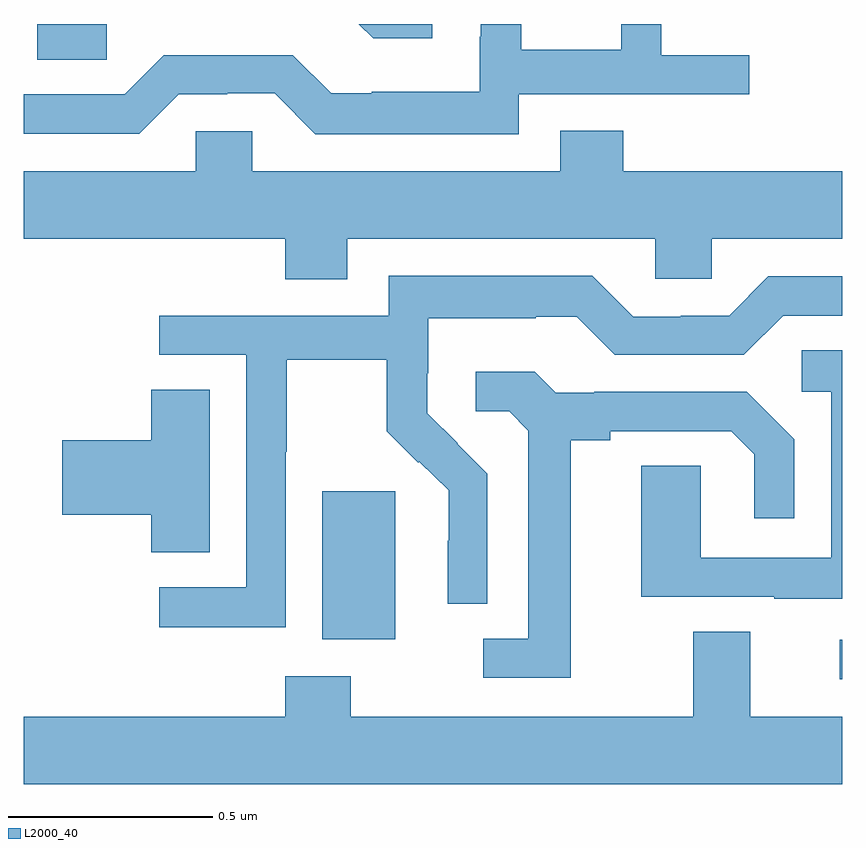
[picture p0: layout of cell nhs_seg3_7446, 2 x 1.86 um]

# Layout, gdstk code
import gdstk
lib = gdstk.Library(unit=1e-6, precision=1e-09)
def R(c, l, rs):  # rectangles x0, y0, x1, y1
    for r in rs: c.add(gdstk.rectangle(r[:2], r[2:], *l))
def P(c, l, *ps):  # polygons
    for p in ps: c.add(gdstk.Polygon(p, *l))
L2000_40 = (2000, 40)

nhs_seg3_7446 = lib.new_cell('nhs_seg3_7446')
R(nhs_seg3_7446, L2000_40, [(204.993,739.8,205,739.896), (203.729,739.898,203.908,740.259), (203.034,741.313,203.203,741.4)])
P(nhs_seg3_7446, L2000_40, [(204.21,741.228),(204.772,741.228),(204.772,741.324),(204.558,741.324),(204.558,741.4),(204.46,741.4),(204.46,741.337),(204.215,741.337),(204.215,741.4),(204.116,741.4),(204.116,741.369),(204.114,741.369),(204.114,741.235),(203.851,741.235),(203.851,741.231),(203.751,741.231),(203.658,741.324),(203.343,741.324),(203.247,741.228),(203,741.228),(203,741.132),(203.283,741.132),(203.379,741.228),(203.498,741.228),(203.498,741.231),(203.613,741.231),(203.713,741.131),(204.21,741.131)],
  [(203.998,741.4),(203.819,741.4),(203.854,741.365),(203.998,741.365)],
  [(203.421,741.138),(203.421,741.04),(203,741.04),(203,740.876),(203.639,740.876),(203.639,740.777),(203.791,740.777),(203.791,740.876),(204.543,740.876),(204.543,740.778),(204.681,740.778),(204.681,740.876),(205,740.876),(205,741.04),(204.464,741.04),(204.464,741.139),(204.311,741.139),(204.311,741.04),(203.559,741.04),(203.559,741.138)],
  [(203.64,740.356),(203.643,740.356),(203.643,740.58),(203.887,740.58),(203.887,740.405),(203.964,740.328),(203.967,740.331),(204.038,740.261),(204.038,740.138),(204.036,740.138),(204.036,739.984),(204.132,739.984),(204.132,740.302),(204.059,740.375),(204.06,740.376),(203.986,740.45),(203.986,740.547),(203.988,740.547),(203.988,740.681),(204.251,740.681),(204.251,740.685),(204.351,740.685),(204.444,740.592),(204.759,740.592),(204.855,740.688),(205,740.688),(205,740.784),(204.819,740.784),(204.723,740.688),(204.605,740.688),(204.605,740.685),(204.489,740.685),(204.389,740.785),(203.892,740.785),(203.892,740.688),(203.331,740.688),(203.331,740.592),(203.544,740.592),(203.544,740.025),(203.331,740.025),(203.331,739.927),(203.64,739.927)],
  [(205,740.603),(204.9,740.603),(204.9,740.502),(204.972,740.502),(204.972,740.097),(204.654,740.097),(204.654,740.321),(204.509,740.321),(204.509,740.001),(204.833,740.001),(204.833,739.997),(205,739.997)],
  [(204.337,740.384),(204.433,740.384),(204.433,740.406),(204.728,740.406),(204.785,740.349),(204.785,740.193),(204.882,740.193),(204.882,740.386),(204.766,740.502),(204.394,740.502),(204.394,740.499),(204.3,740.499),(204.248,740.551),(204.105,740.551),(204.105,740.454),(204.186,740.454),(204.233,740.407),(204.233,739.899),(204.123,739.899),(204.123,739.803),(204.337,739.803)],
  [(203.455,740.507),(203.312,740.507),(203.312,740.384),(203.094,740.384),(203.094,740.201),(203.312,740.201),(203.312,740.11),(203.455,740.11)],
  [(205,739.708),(204.775,739.708),(204.775,739.916),(204.635,739.916),(204.635,739.708),(203.799,739.708),(203.799,739.807),(203.639,739.807),(203.639,739.708),(203,739.708),(203,739.544),(205,739.544)])

lib.write_gds('nhs_seg3_7446.gds')
